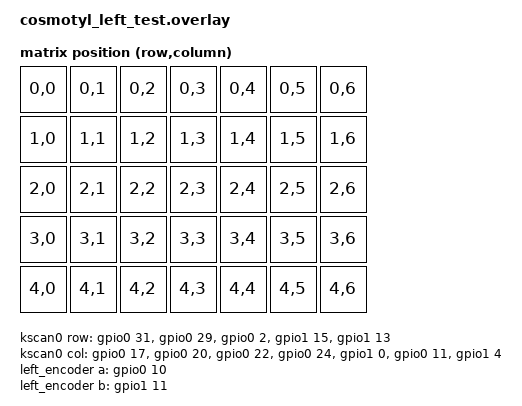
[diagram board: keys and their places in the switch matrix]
#include <dt-bindings/zmk/matrix_transform.h>
#include <zephyr/dt-bindings/gpio/gpio.h>

/ {
    chosen {
        zmk,physical-layout = &physical_layout0;
    };

    kscan0: kscan0 {
        compatible = "zmk,kscan-gpio-matrix";
        diode-direction = "col2row";
        wakeup-source;

        /* ROWS: R0 R1 R2 R3 R4 R5 */
        row-gpios =
            <&gpio0 31 (GPIO_ACTIVE_HIGH | GPIO_PULL_DOWN)>,
            <&gpio0 29 (GPIO_ACTIVE_HIGH | GPIO_PULL_DOWN)>,
            <&gpio0  2 (GPIO_ACTIVE_HIGH | GPIO_PULL_DOWN)>,
            <&gpio1 15 (GPIO_ACTIVE_HIGH | GPIO_PULL_DOWN)>,
            <&gpio1 13 (GPIO_ACTIVE_HIGH | GPIO_PULL_DOWN)>;

        /* COLUMNS: C0 C1 C2 C3 C4 C5 C6 */
        col-gpios =
            <&gpio0 17 GPIO_ACTIVE_HIGH>,
            <&gpio0 20 GPIO_ACTIVE_HIGH>,
            <&gpio0 22 GPIO_ACTIVE_HIGH>,
            <&gpio0 24 GPIO_ACTIVE_HIGH>,
            <&gpio1  0 GPIO_ACTIVE_HIGH>,
            <&gpio0 11 GPIO_ACTIVE_HIGH>,
            <&gpio1  4 GPIO_ACTIVE_HIGH>;
    };

    default_transform: keymap_transform0 {
        compatible = "zmk,matrix-transform";
        rows = <5>;
        columns = <7>;

        map = <
            RC(0,0) RC(0,1) RC(0,2) RC(0,3) RC(0,4) RC(0,5) RC(0,6)
            RC(1,0) RC(1,1) RC(1,2) RC(1,3) RC(1,4) RC(1,5) RC(1,6)
            RC(2,0) RC(2,1) RC(2,2) RC(2,3) RC(2,4) RC(2,5) RC(2,6)
            RC(3,0) RC(3,1) RC(3,2) RC(3,3) RC(3,4) RC(3,5) RC(3,6)
            RC(4,0) RC(4,1) RC(4,2) RC(4,3) RC(4,4) RC(4,5) RC(4,6)
        >;
    };

    physical_layout0: physical_layout_0 {
        compatible = "zmk,physical-layout";
        display-name = "Cosmotyl Left Matrix Test";
        kscan = <&kscan0>;
        transform = <&default_transform>;
    };
};

/ {
    left_encoder: encoder_left {
        compatible = "alps,ec11";
        a-gpios = <&gpio0 10 (GPIO_ACTIVE_HIGH | GPIO_PULL_UP)>;
        b-gpios = <&gpio1 11 (GPIO_ACTIVE_HIGH | GPIO_PULL_UP)>;
        steps = <96>;
        status = "okay";
    };

    sensors: sensors {
        compatible = "zmk,keymap-sensors";
        sensors = <&left_encoder>;
        triggers-per-rotation = <24>;
    };
};
